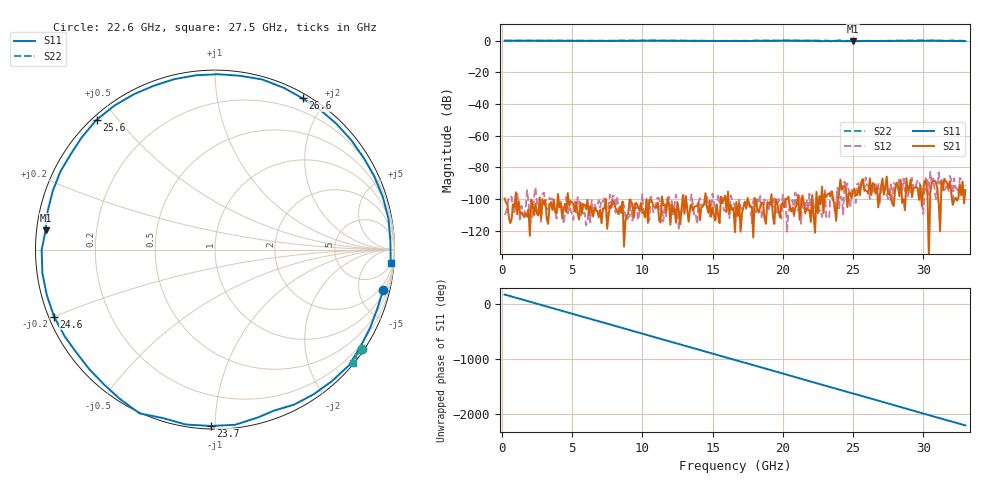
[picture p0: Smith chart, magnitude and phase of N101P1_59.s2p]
# GHZ S RI R 50
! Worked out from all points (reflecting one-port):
!   329 points, 200 MHz to 33 GHz, reference 50 ohm
!   lowest |S11| = -0.4 dB at 25 GHz (marker M1), VSWR 39.10, Z = 1.28 + j2.81 ohm
!   phase of S11 starts at 165 deg and turns -2368 deg over the sweep
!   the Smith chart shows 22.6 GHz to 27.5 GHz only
!   S11 on the Smith chart (normalised r, x): 22.6 GHz: 1.32, -8.33; 23.7 GHz: 0.02, -0.98; 24.6 GHz: 0.02, -0.20; 25.6 GHz: 0.01, +0.44; 26.6 GHz: 0.05, +1.73; 27.5 GHz: 6, -25
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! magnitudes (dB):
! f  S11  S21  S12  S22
! 200 MHz  0.0  -99.7  -110.1  0.0
! 5.7 GHz  -0.1  -109.2  -101.6  -0.1
! 11.2 GHz  0.0  -113.6  -99.7  0.0
! 16.6 GHz  -0.2  -121.0  -105.0  -0.1
! 22.1 GHz  0.0  -98.1  -97.4  0.1
! 22.6 GHz  -0.3  -98.3  -107.9  -0.1
! 23 GHz  -0.1  -96.6  -94.6  0.0
! 23.4 GHz  -0.4  -98.3  -95.6  -0.2
! 23.7 GHz  -0.1  -104.5  -108.2  -0.1
! 23.9 GHz  -0.2  -100.1  -92.9  -0.1
! 24 GHz  0.0  -97.3  -106.0  0.1
! 24.3 GHz  -0.3  -92.1  -109.7  -0.1
! 24.6 GHz  -0.3  -105.2  -90.1  -0.1
! 25 GHz  -0.4  -94.6  -95.5  -0.2
! 25.6 GHz  -0.2  -89.0  -89.9  -0.2
! 26.6 GHz  -0.2  -96.5  -90.6  -0.2
! 27.5 GHz  -0.2  -96.9  -100.2  -0.1
! 27.6 GHz  -0.1  -95.1  -94.9  0.0
! 30.5 GHz  0.0  -96.2  -82.8  0.1
! 31.8 GHz  -0.2  -93.5  -94.9  -0.2
! 32 GHz  -0.1  -96.5  -88.3  0.1
! 33 GHz  -0.3  -94.6  -91.4  -0.2
